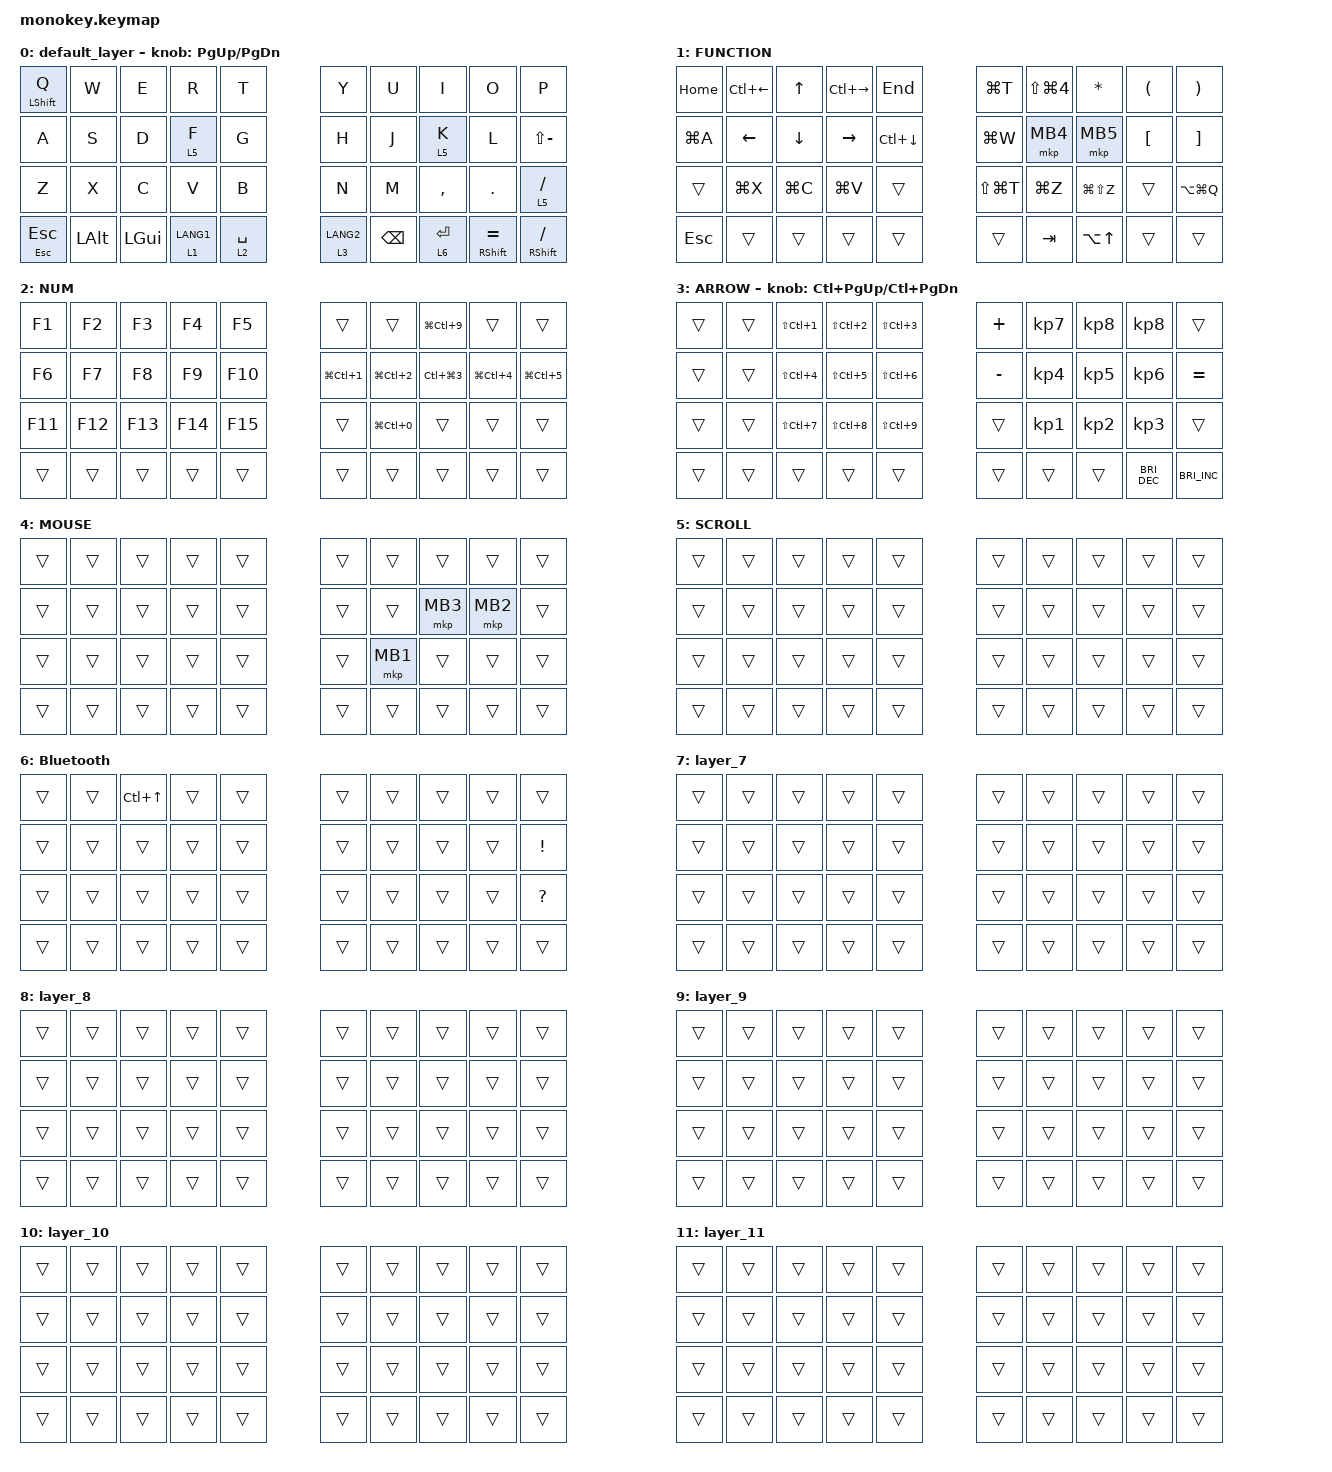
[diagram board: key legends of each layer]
#include <behaviors.dtsi>
#include <dt-bindings/zmk/keys.h>
#include <dt-bindings/zmk/pointing.h>

#define MOUSE 4
#define SCROLL 5
#define NUM 6

/* マウス移動とスクロールの加速設定 */

&mmv {
    time-to-max-speed-ms = <500>;
    acceleration-exponent = <1>;
};

&msc {
    time-to-max-speed-ms = <500>;
    acceleration-exponent = <0>;
};

&mt {
    flavor = "balanced";
    quick-tap-ms = <200>;
};

&lt { quick-tap-ms = <200>; };

/ {
    combos {
        compatible = "zmk,combos";

        scroll {
            bindings = <&mo 5>;
            key-positions = <16 17>;
        };

        mb3 {
            bindings = <&mkp MB3>;
            key-positions = <19 18>;
        };
    };

    behaviors {
        right_click: right_click_behavior {
            compatible = "zmk,behavior-mouse-key";
            label = "RIGHT_CLICK";
            #binding-cells = <0>;

            // 右クリックは通常 MB2 に対応（ZMKの標準定義）

            bindings = <&mkp MB2>;
        };
    };

    keymap {
        compatible = "zmk,keymap";

        default_layer {
            bindings = <
&mt LEFT_SHIFT Q  &kp W         &kp E         &kp R        &kp T                       &kp Y          &kp U        &kp I      &kp O            &kp P
&kp A             &kp S         &kp D         &lt 5 F      &kp G                       &kp H          &kp J        &lt 5 K    &kp L            &kp LS(MINUS)
&kp Z             &kp X         &kp C         &kp V        &kp B                       &kp N          &kp M        &kp COMMA  &kp PERIOD       &lt 5 SLASH
&mt ESC ESC       &kp LEFT_ALT  &kp LEFT_GUI  &lt 1 LANG1  &lt 2 SPACE  &lt 3 LANG2    &kp BACKSPACE  &lt 6 ENTER             &mt RSHFT EQUAL  &mt RSHFT SLASH
            >;

            sensor-bindings = <&inc_dec_kp PG_UP PAGE_DOWN>;
        };

        FUNCTION {
            bindings = <
&kp HOME    &kp LC(LEFT)  &kp UP_ARROW    &kp LC(RIGHT)  &kp END                       &kp LG(T)      &kp LS(LG(NUMBER_4))  &kp ASTERISK   &kp LEFT_PARENTHESIS  &kp RIGHT_PARENTHESIS
&kp LG(A)   &kp LEFT      &kp DOWN_ARROW  &kp RIGHT      &kp LC(DOWN_ARROW)            &kp LG(W)      &mkp MB4              &mkp MB5       &kp LEFT_BRACKET      &kp RIGHT_BRACKET
&trans      &kp LG(X)     &kp LG(C)       &kp LG(V)      &trans                        &kp LS(LG(T))  &kp LG(Z)             &kp LG(LS(Z))  &trans                &kp LA(LG(Q))
&kp ESCAPE  &trans        &trans          &trans         &trans              &trans    &kp TAB        &kp LA(UP_ARROW)                     &trans                &trans
            >;
        };

        NUM {
            bindings = <
&kp F1   &kp F2   &kp F3   &kp F4   &kp F5             &trans          &trans                &kp LG(LC(NUMBER_9))  &trans                &trans
&kp F6   &kp F7   &kp F8   &kp F9   &kp F10            &kp LG(LC(N1))  &kp LG(LC(NUMBER_2))  &kp LC(LG(NUMBER_3))  &kp LG(LC(NUMBER_4))  &kp LG(LC(N5))
&kp F11  &kp F12  &kp F13  &kp F14  &kp F15            &trans          &kp LG(LC(N0))        &trans                &trans                &trans
&trans   &trans   &trans   &trans   &trans   &trans    &trans          &trans                                      &trans                &trans
            >;
        };

        ARROW {
            bindings = <
&trans  &trans  &kp LS(LC(NUMBER_1))  &kp LS(LC(NUMBER_2))  &kp LS(LC(NUMBER_3))            &kp PLUS   &kp KP_N7        &kp KP_NUMBER_8  &kp KP_NUMBER_8  &trans
&trans  &trans  &kp LS(LC(NUMBER_4))  &kp LS(LC(N5))        &kp LS(LC(NUMBER_6))            &kp MINUS  &kp KP_NUMBER_4  &kp KP_NUMBER_5  &kp KP_NUMBER_6  &kp EQUAL
&trans  &trans  &kp LS(LC(N7))        &kp LS(LC(N8))        &kp LS(LC(N9))                  &trans     &kp KP_NUMBER_1  &kp KP_NUMBER_2  &kp KP_NUMBER_3  &trans
&trans  &trans  &trans                &trans                &trans                &trans    &trans     &trans                            &kp C_BRI_DEC    &kp C_BRI_INC
            >;

            sensor-bindings = <&inc_dec_kp LC(PAGE_UP) LC(PAGE_DOWN)>;
        };

        MOUSE {
            bindings = <
&trans  &trans  &trans  &trans  &trans            &trans  &trans    &trans    &trans    &trans
&trans  &trans  &trans  &trans  &trans            &trans  &trans    &mkp MB3  &mkp MB2  &trans
&trans  &trans  &trans  &trans  &trans            &trans  &mkp MB1  &trans    &trans    &trans
&trans  &trans  &trans  &trans  &trans  &trans    &trans  &trans              &trans    &trans
            >;
        };

        SCROLL {
            bindings = <
&trans  &trans  &trans  &trans  &trans            &trans  &trans  &trans  &trans  &trans
&trans  &trans  &trans  &trans  &trans            &trans  &trans  &trans  &trans  &trans
&trans  &trans  &trans  &trans  &trans            &trans  &trans  &trans  &trans  &trans
&trans  &trans  &trans  &trans  &trans  &trans    &trans  &trans          &trans  &trans
            >;
        };

        Bluetooth {
            bindings = <
&trans  &trans  &kp LC(UP_ARROW)  &trans  &trans            &trans  &trans  &trans  &trans  &trans
&trans  &trans  &trans            &trans  &trans            &trans  &trans  &trans  &trans  &kp EXCL
&trans  &trans  &trans            &trans  &trans            &trans  &trans  &trans  &trans  &kp QUESTION
&trans  &trans  &trans            &trans  &trans  &trans    &trans  &trans          &trans  &trans
            >;
        };

        layer_7 {
            bindings = <
&trans  &trans  &trans  &trans  &trans            &trans  &trans  &trans  &trans  &trans
&trans  &trans  &trans  &trans  &trans            &trans  &trans  &trans  &trans  &trans
&trans  &trans  &trans  &trans  &trans            &trans  &trans  &trans  &trans  &trans
&trans  &trans  &trans  &trans  &trans  &trans    &trans  &trans          &trans  &trans
            >;
        };

        layer_8 {
            bindings = <
&trans  &trans  &trans  &trans  &trans            &trans  &trans  &trans  &trans  &trans
&trans  &trans  &trans  &trans  &trans            &trans  &trans  &trans  &trans  &trans
&trans  &trans  &trans  &trans  &trans            &trans  &trans  &trans  &trans  &trans
&trans  &trans  &trans  &trans  &trans  &trans    &trans  &trans          &trans  &trans
            >;
        };

        layer_9 {
            bindings = <
&trans  &trans  &trans  &trans  &trans            &trans  &trans  &trans  &trans  &trans
&trans  &trans  &trans  &trans  &trans            &trans  &trans  &trans  &trans  &trans
&trans  &trans  &trans  &trans  &trans            &trans  &trans  &trans  &trans  &trans
&trans  &trans  &trans  &trans  &trans  &trans    &trans  &trans          &trans  &trans
            >;
        };

        layer_10 {
            bindings = <
&trans  &trans  &trans  &trans  &trans            &trans  &trans  &trans  &trans  &trans
&trans  &trans  &trans  &trans  &trans            &trans  &trans  &trans  &trans  &trans
&trans  &trans  &trans  &trans  &trans            &trans  &trans  &trans  &trans  &trans
&trans  &trans  &trans  &trans  &trans  &trans    &trans  &trans          &trans  &trans
            >;
        };

        layer_11 {
            bindings = <
&trans  &trans  &trans  &trans  &trans            &trans  &trans  &trans  &trans  &trans
&trans  &trans  &trans  &trans  &trans            &trans  &trans  &trans  &trans  &trans
&trans  &trans  &trans  &trans  &trans            &trans  &trans  &trans  &trans  &trans
&trans  &trans  &trans  &trans  &trans  &trans    &trans  &trans          &trans  &trans
            >;
        };
    };
};
